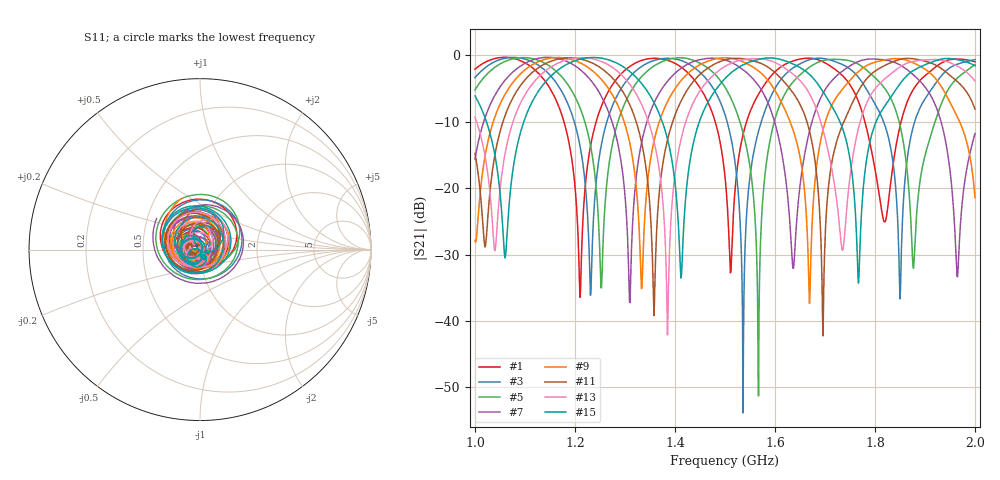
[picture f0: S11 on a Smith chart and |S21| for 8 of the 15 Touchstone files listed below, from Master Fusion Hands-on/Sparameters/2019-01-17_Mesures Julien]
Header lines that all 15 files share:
#  HZ  S  DB  R  50.00
! Rohde & Schwarz Vector Network Analyzer
! Rohde-Schwarz,ZNB8-4Port,1311601044102961,2.82
! freq[Hz]  db:S11  ang:S11  db:S12  ang:S12  db:S13  ang:S13  db:S14  ang:S14
!  db:S21  ang:S21  db:S22  ang:S22  db:S23  ang:S23  db:S24  ang:S24
!  db:S31  ang:S31  db:S32  ang:S32  db:S33  ang:S33  db:S34  ang:S34
!  db:S41  ang:S41  db:S42  ang:S42  db:S43  ang:S43  db:S44  ang:S44
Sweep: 1 GHz to 2 GHz
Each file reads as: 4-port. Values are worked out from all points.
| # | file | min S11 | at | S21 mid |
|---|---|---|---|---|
| 1 | Variable_coupler_000.s4p | -49.3 dB | 1.045 GHz | -18.3 dB at 1.5 GHz |
| 2 | Variable_coupler_010.s4p | -57.2 dB | 1.038 GHz | -12.2 dB at 1.5 GHz |
| 3 | Variable_coupler_020.s4p | -44.5 dB | 1.032 GHz | -8.9 dB at 1.5 GHz |
| 4 | Variable_coupler_030.s4p | -43.0 dB | 1.026 GHz | -6.5 dB at 1.5 GHz |
| 5 | Variable_coupler_040.s4p | -43.6 dB | 1.021 GHz | -4.8 dB at 1.5 GHz |
| 6 | Variable_coupler_050.s4p | -47.6 dB | 1.016 GHz | -3.5 dB at 1.5 GHz |
| 7 | Variable_coupler_090.s4p | -66.4 dB | 1.388 GHz | -0.7 dB at 1.5 GHz |
| 8 | Variable_coupler_100.s4p | -64.3 dB | 1.385 GHz | -0.4 dB at 1.5 GHz |
| 9 | Variable_coupler_110.s4p | -58.8 dB | 1.383 GHz | -0.4 dB at 1.5 GHz |
| 10 | Variable_coupler_120.s4p | -62.0 dB | 1.845 GHz | -0.4 dB at 1.5 GHz |
| 11 | Variable_coupler_130.s4p | -47.9 dB | 1.484 GHz | -0.7 dB at 1.5 GHz |
| 12 | Variable_coupler_140.s4p | -50.3 dB | 1.478 GHz | -1.1 dB at 1.5 GHz |
| 13 | Variable_coupler_150.s4p | -44.2 dB | 1.475 GHz | -1.7 dB at 1.5 GHz |
| 14 | Variable_coupler_160.s4p | -48.7 dB | 1.259 GHz | -2.4 dB at 1.5 GHz |
| 15 | Variable_coupler_170.s4p | -49.4 dB | 1.249 GHz | -3.5 dB at 1.5 GHz |
